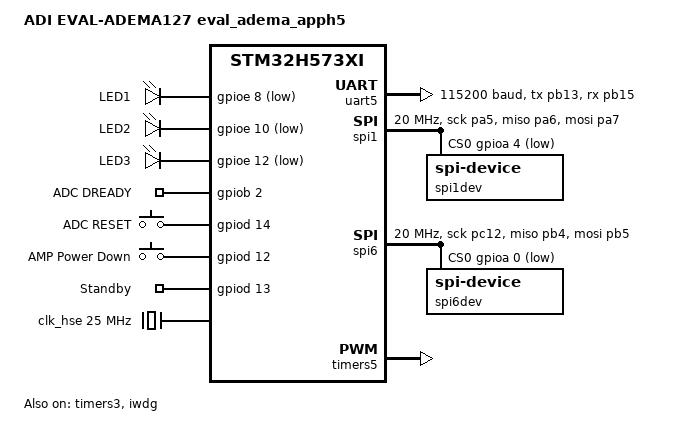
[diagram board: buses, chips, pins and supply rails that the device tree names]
/*
 * Copyright (c) 2026 Analog Devices Inc.
 *
 * SPDX-License-Identifier: Apache-2.0
 */

/dts-v1/;
#include <st/h5/stm32h573Xi.dtsi>
#include "eval_adema_apph5-pinctrl.dtsi"
#include <zephyr/dt-bindings/input/input-event-codes.h>

/ {
	compatible = "adi,eval-adema-apph5";
	model = "ADI EVAL-ADEMA127 eval_adema_apph5";

	chosen {
		zephyr,console = &uart5;
		zephyr,shell-uart = &uart5;
		zephyr,sram = &sram1;
		zephyr,flash = &flash0;
	};

	aliases {
		uart-host = &uart5;
		ade-spi = &spi1;
		adespislave = &spi1dev;
		fram-spi = &spi6;
		framspislave = &spi6dev;
	};

	leds {
		compatible = "gpio-leds";

		led1: led_1 {
			gpios = <&gpioe 8 GPIO_ACTIVE_LOW>;
			label = "LED1";
		};

		led2: led_2 {
			gpios = <&gpioe 10 GPIO_ACTIVE_LOW>;
			label = "LED2";
		};

		led3: led_3 {
			gpios = <&gpioe 12 GPIO_ACTIVE_LOW>;
			label = "LED3";
		};
	};

	gpio_drdy_node {
		compatible = "gpio-keys";

		gpio_drdy: gpio_drdy {
			gpios = <&gpiob 2 GPIO_ACTIVE_HIGH>;
			label = "ADC DREADY";
		};
	};

	gpio_reset_node {
		compatible = "gpio-keys";

		gpio_reset: gpio_reset {
			gpios = <&gpiod 14 GPIO_ACTIVE_HIGH>;
			label = "ADC RESET";
		};
	};

	gpio_amp_pd_node {
		compatible = "gpio-keys";

		gpio_amp_pd: gpio_amp_pd {
			gpios = <&gpiod 12 GPIO_ACTIVE_HIGH>;
			label = "AMP Power Down";
		};
	};

	gpio_stdby_node {
		compatible = "gpio-keys";

		gpio_stdby: gpio_stdby {
			gpios = <&gpiod 13 GPIO_ACTIVE_HIGH>;
			label = "Standby";
		};
	};
};

/* Clock tree: 25 MHz HSE -> PLL1 -> 250 MHz SYSCLK */
&clk_hse {
	clock-frequency = <DT_FREQ_M(25)>;
	status = "okay";
};

&pll {
	div-m = <2>;
	mul-n = <40>;
	div-p = <2>;
	div-q = <13>;
	div-r = <2>;
	clocks = <&clk_hse>;
	status = "okay";
};

&rcc {
	clocks = <&pll>;
	clock-frequency = <DT_FREQ_M(250)>;
	ahb-prescaler = <1>;
	apb1-prescaler = <1>;
	apb2-prescaler = <1>;
	apb3-prescaler = <1>;
};

&gpdma1 {
	status = "okay";
};

&gpdma2 {
	status = "okay";
};

&uart5 {
	pinctrl-0 = <&uart5_tx_pb13 &uart5_rx_pb15>;
	pinctrl-names = "default";
	current-speed = <115200>;
	dmas = <&gpdma1 2 30 (STM32_DMA_PERIPH_TX | STM32_DMA_PRIORITY_HIGH)>,
	       <&gpdma1 3 29 (STM32_DMA_PERIPH_RX | STM32_DMA_PRIORITY_HIGH)>;
	dma-names = "tx", "rx";
	status = "okay";
};

&spi1 {
	clock-frequency = <20000000>;
	pinctrl-0 = <&spi1_sck_pa5 &spi1_miso_pa6 &spi1_mosi_pa7>;
	pinctrl-names = "default";
	cs-gpios = <&gpioa 4 (GPIO_ACTIVE_LOW | GPIO_PULL_UP)>;
	dmas = <&gpdma1 6 7 (STM32_DMA_PERIPH_TX | STM32_DMA_PRIORITY_HIGH)>,
	       <&gpdma1 7 6 (STM32_DMA_PERIPH_RX | STM32_DMA_PRIORITY_HIGH)>;
	dma-names = "tx", "rx";
	status = "okay";

	spi1dev: spi-device@0 {
		reg = <0>;
	};
};

&spi6 {
	clock-frequency = <20000000>;
	pinctrl-0 = <&spi6_sck_pc12 &spi6_miso_pb4 &spi6_mosi_pb5>;
	pinctrl-names = "default";
	cs-gpios = <&gpioa 0 GPIO_ACTIVE_LOW>;
	dmas = <&gpdma2 7 52 (STM32_DMA_PERIPH_TX | STM32_DMA_PRIORITY_HIGH)>,
	       <&gpdma2 6 51 (STM32_DMA_PERIPH_RX | STM32_DMA_PRIORITY_HIGH)>;
	dma-names = "tx", "rx";
	status = "okay";

	spi6dev: spi-device@0 {
		reg = <0>;
	};
};

&timers5 {
	st,prescaler = <9>;
	status = "okay";

	pwm5: pwm {
		pinctrl-0 = <&tim5_ch4_pa3>;
		pinctrl-names = "default";
		status = "okay";
	};

	counter5: counter {
		status = "okay";
	};
};

&timers3 {
	st,prescaler = <9>;
	status = "okay";

	counter3: counter {
		status = "okay";
	};
};

&iwdg {
	status = "okay";
};
